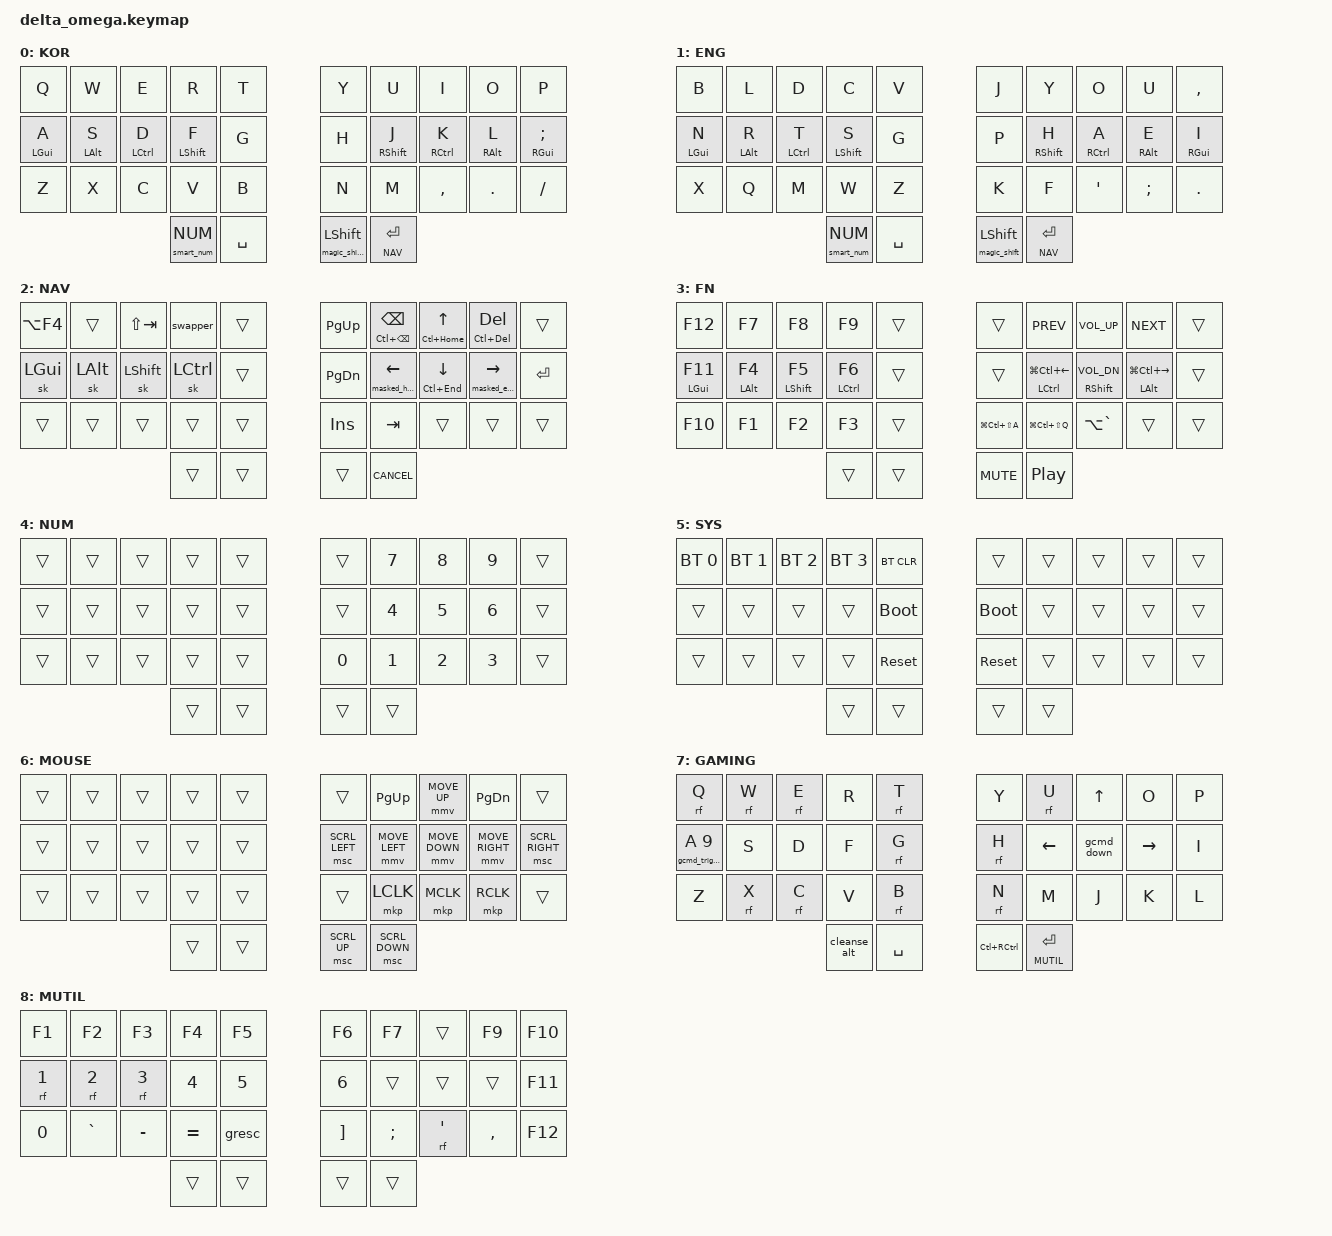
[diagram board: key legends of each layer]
#include <behaviors.dtsi>
#include <behaviors/num_word.dtsi>
#include <dt-bindings/zmk/keys.h>
#include <dt-bindings/zmk/modifiers.h>
#include <dt-bindings/zmk/pointing.h>
#include <dt-bindings/zmk/outputs.h>
#include <dt-bindings/zmk/bt.h>
#include <input/processors.dtsi>
#include <zephyr/dt-bindings/input/input-event-codes.h>

#define KOR    0
#define ENG    1
#define NAV    2
#define FN     3
#define NUM    4
#define SYS    5
#define MOUSE  6
#define GAMING 7
#define MUTIL  8

/*
 * Ported from urob/zmk-config (github.com/urob/zmk-config), adapted to the
 * Delta Omega's 34-key 3x5+2 layout. KOR/ENG (base typing layers + HRM) are
 * unchanged from before. NAV/FN/NUM/SYS/MOUSE and the combo set below
 * replace the old NAV_MOUSE/NUM_FUN/SYM layers. MAPLE/MUTIL removed for
 * this pass.
 *
 * Physical position numbers (unchanged project convention):
 *   row0: 0-4 (left) 5-9 (right)
 *   row1: 10-14 (left) 15-19 (right)
 *   row2: 20-24 (left) 25-29 (right)
 *   thumbs: 30(SMART_NUM) 31(SPACE) 32(MAGIC_SHIFT) 33(ENTER)
 *
 * Final personalized thumb set - urob's features are ported for their
 * behavior, not to force his thumb arrangement:
 *   - Smart Num (urob): tap = num-word, hold = NUM, double-tap = sticky NUM.
 *   - Space: plain &kp SPACE. Position 31's switch was suspected of
 *     chattering and both a software debounce cooldown and a chatter-
 *     guard behavior were tried here - real-hardware testing traced its
 *     actual misbehavior to intermittent presses never reaching the
 *     matrix scan at all (a physical contact issue), which neither can
 *     compensate for, so it's back to plain.
 *   - Magic Shift (urob): hold = Shift, tap = sticky-Shift (or repeat the
 *     last letter if one was just typed), Shift+tap = Caps Word.
 *   - Enter: tap = Enter, hold = NAV.
 * Esc and Backspace are off the thumbs entirely - combo_esc_kor/
 * combo_esc_eng/combo_esc and combo_bspc below are their only access, with
 * the KOR<->ENG switch (bsw) as the hold action on the KOR/ENG Esc combos.
 * The Leader key was tried and dropped (combo_qexcl took its home-row
 * combo spot instead) - losing it also means &out OUT_USB/OUT_BLE has no
 * binding anywhere right now.
 */

&sk {
    release-after-ms = <900>;
    quick-release;
};

&sl {
    ignore-modifiers;
};

&lt {
    flavor = "balanced";
    tapping-term-ms = <200>;
    quick-tap-ms = <175>;
};

&mmv {
    acceleration-exponent = <1>;
    time-to-max-speed-ms = <500>;
    delay-ms = <0>;
};

&msc {
    acceleration-exponent = <0>;
    time-to-max-speed-ms = <300>;
    delay-ms = <0>;
};

/*
 * The delta-omega shield module's board overlay only applies under the old
 * board id (boards/seeeduino_xiao_ble.overlay). Under the newer Zephyr
 * hwmv2 board id (xiao_ble) that file is never included, which left the
 * XIAO's I2C/UART pins enabled by default - conflicting with the kscan
 * matrix pins and breaking every key. Replicated here so it applies
 * regardless of board-id naming.
 */
&xiao_i2c {
    status = "disabled";
};
&xiao_serial {
    status = "disabled";
};

/*
 * The shield chooses both zmk,matrix_transform and zmk,physical-layout,
 * which the newer physical_layouts.c only partially supports (it falls
 * back to matrix_transform with a #warning, but that fallback path may not
 * be wiring events through correctly). Drop the physical-layout chosen so
 * only the plain matrix-transform path is used.
 */
/ {
    chosen {
        /delete-property/ zmk,physical-layout;
    };
};

/ {
    aliases {
        led-red = &led0;
        led-green = &led1;
        led-blue = &led2;
    };

    leds {
        compatible = "gpio-leds";
        status = "okay";
        led0: led_0 {
            gpios = <&gpio1 15 GPIO_ACTIVE_HIGH>;
        };
        led1: led_1 {
            gpios = <&gpio1 14 GPIO_ACTIVE_HIGH>;
        };
        led2: led_2 {
            gpios = <&gpio0 10 GPIO_ACTIVE_HIGH>;
        };
    };
};

/ {
    dbtap: debounce_tap {
        compatible = "zmk,behavior-debounce-tap";
        #binding-cells = <1>;
    };

    space_ht: space_holdtap {
        compatible = "zmk,behavior-space-holdtap";
        #binding-cells = <2>;
    };

    rf: rapid_fire {
        compatible = "zmk,behavior-rapid-fire";
        #binding-cells = <1>;
    };

    /* Gaming layer 7: alternates LALT/F8 on the Cleanse thumb key. */
    cleanse_alt: cleanse_alt {
        compatible = "zmk,behavior-cleanse-alt";
        #binding-cells = <0>;
    };

    /* Gaming layer 7/8 command state machine - see behavior_gaming_cmd.c. */
    gcmd_down: gaming_cmd_down {
        compatible = "zmk,behavior-gaming-cmd-down";
        #binding-cells = <0>;
    };
    gcmd_trigger: gaming_cmd_trigger {
        compatible = "zmk,behavior-gaming-cmd-trigger";
        #binding-cells = <2>;
    };

    zip_scroll_scaler: zip_scroll_scaler {
        compatible = "zmk,input-processor-scaler";
        #input-processor-cells = <2>;
        type = <INPUT_EV_REL>;
        codes = <INPUT_REL_WHEEL INPUT_REL_HWHEEL>;
        track-remainders;
    };

    behaviors {
        hml: home_row_mod_left {
            compatible = "zmk,behavior-hold-tap";
            #binding-cells = <2>;
            flavor = "balanced";
            tapping-term-ms = <250>;
            quick-tap-ms = <175>;
            require-prior-idle-ms = <150>;
            bindings = <&kp>, <&kp>;
            hold-trigger-key-positions = <
                5 6 7 8 9
                15 16 17 18 19
                25 26 27 28 29
                30 31 32 33
            >;
            hold-trigger-on-release;
        };

        hmr: home_row_mod_right {
            compatible = "zmk,behavior-hold-tap";
            #binding-cells = <2>;
            flavor = "balanced";
            tapping-term-ms = <250>;
            quick-tap-ms = <175>;
            require-prior-idle-ms = <150>;
            bindings = <&kp>, <&kp>;
            hold-trigger-key-positions = <
                0 1 2 3 4
                10 11 12 13 14
                20 21 22 23 24
                30 31 32 33
            >;
            hold-trigger-on-release;
        };

        /*
         * Tap Esc, hold to switch KOR <-> ENG. Lives only on
         * combo_esc_kor/combo_esc_eng below - no thumb key for it.
         */
        bsw: base_switch {
            compatible = "zmk,behavior-hold-tap";
            #binding-cells = <2>;
            flavor = "tap-preferred";
            tapping-term-ms = <250>;
            bindings = <&to>, <&kp>;
        };

        /* Mask CTRL on long-tap Left/Right nav to avoid jumping to doc start/end. */
        masked_home: masked_home {
            compatible = "zmk,behavior-mod-morph";
            #binding-cells = <0>;
            bindings = <&kp HOME>, <&kp HOME>;
            mods = <(MOD_LCTL)>;
        };
        masked_end: masked_end {
            compatible = "zmk,behavior-mod-morph";
            #binding-cells = <0>;
            bindings = <&kp END>, <&kp END>;
            mods = <(MOD_LCTL)>;
        };

        /* Trigger tap-action on all interrupts; used for Nav's long-tap keys. */
        mt_home: mt_home {
            compatible = "zmk,behavior-hold-tap";
            #binding-cells = <2>;
            flavor = "tap-preferred";
            tapping-term-ms = <220>;
            quick-tap-ms = <220>;
            bindings = <&masked_home>, <&kp>;
        };
        mt_end: mt_end {
            compatible = "zmk,behavior-hold-tap";
            #binding-cells = <2>;
            flavor = "tap-preferred";
            tapping-term-ms = <220>;
            quick-tap-ms = <220>;
            bindings = <&masked_end>, <&kp>;
        };
        mt_ctrl: mt_ctrl {
            compatible = "zmk,behavior-hold-tap";
            #binding-cells = <2>;
            flavor = "tap-preferred";
            tapping-term-ms = <220>;
            quick-tap-ms = <220>;
            bindings = <&kp>, <&kp>;
        };

        /*
         * Gaming layer 7: right-hand Interaction thumb key.
         * LCTRL+RCTRL together (NPC/boss interact), held for exactly as
         * long as the physical key is down - matching LunaKey Pico's
         * pcbang_gaming port, which dropped this key's old hold=Esc
         * tap-dance this same session in favor of a plain hold. No
         * custom behavior needed: LC(RCTRL) already gives ZMK's native
         * hold-for-physical-duration semantics directly (same as any
         * other &kp), so the old ctrl_both macro + gaming_ctrl_esc
         * hold-tap (which existed only to support the now-removed Esc
         * branch) are gone too.
         */

        /* Alt+Tab swapper - hold Alt, tap Tab repeatedly, release to commit. */
        swapper: swapper {
            compatible = "zmk,behavior-tri-state";
            #binding-cells = <0>;
            bindings = <&kt LALT>, <&kp TAB>, <&kt LALT>;
            ignored-key-positions = <2 7 16 17 18>;
        };

        /* Toggle the Mouse layer; typing other keys while it's on cancels it. */
        smart_mouse: smart_mouse {
            compatible = "zmk,behavior-tri-state";
            #binding-cells = <0>;
            bindings = <&tog MOUSE>, <&none>, <&tog MOUSE>;
            ignored-key-positions = <2 3 6 7 8 15 16 17 18 19 26 27 28 30 31 32 33>;
            ignored-layers = <MOUSE NAV FN>;
        };

        /*
         * Toggle the FN layer; typing other keys while it's on cancels it.
         * Cloned from smart_mouse above - same tri-state/auto-exit pattern,
         * entered via combo_fn (physical R+T) instead of a thumb hold-tap.
         * ignored-key-positions = FN's own real (non-trans) bindings, plus
         * combo_fn's own trigger positions (3 4), plus 30 (SMART_NUM) so
         * holding it to reach the FN+NUM -> SYS conditional layer doesn't
         * cancel FN first.
         */
        smart_fn: smart_fn {
            compatible = "zmk,behavior-tri-state";
            #binding-cells = <0>;
            bindings = <&tog FN>, <&none>, <&tog FN>;
            ignored-key-positions = <0 1 2 3 4 6 7 8 10 11 12 13 16 17 18 20 21 22 23 25 26 27 30 32 33>;
            ignored-layers = <FN NAV MOUSE>;
        };

        /* Tap: comma | Shift+tap: semicolon | Ctrl+Shift+tap: less-than. */
        comma_inner_morph: comma_inner_morph {
            compatible = "zmk,behavior-mod-morph";
            #binding-cells = <0>;
            bindings = <&kp SEMI>, <&kp LT>;
            mods = <(MOD_LCTL|MOD_RCTL)>;
        };
        comma_morph: comma_morph {
            compatible = "zmk,behavior-mod-morph";
            #binding-cells = <0>;
            bindings = <&kp COMMA>, <&comma_inner_morph>;
            mods = <(MOD_LSFT|MOD_RSFT)>;
        };

        /* Tap: dot | Shift+tap: colon | Ctrl+Shift+tap: greater-than. */
        dot_inner_morph: dot_inner_morph {
            compatible = "zmk,behavior-mod-morph";
            #binding-cells = <0>;
            bindings = <&kp COLON>, <&kp GT>;
            mods = <(MOD_LCTL|MOD_RCTL)>;
        };
        dot_morph: dot_morph {
            compatible = "zmk,behavior-mod-morph";
            #binding-cells = <0>;
            bindings = <&kp DOT>, <&dot_inner_morph>;
            mods = <(MOD_LSFT|MOD_RSFT)>;
        };

        /* Tap: question mark | Shift+tap: exclamation mark. */
        qexcl: qexcl {
            compatible = "zmk,behavior-mod-morph";
            #binding-cells = <0>;
            bindings = <&kp QMARK>, <&kp EXCL>;
            mods = <(MOD_LSFT|MOD_RSFT)>;
        };

        /* Tap: ( / ) | Shift+tap: < / >. */
        lpar_lt: lpar_lt {
            compatible = "zmk,behavior-mod-morph";
            #binding-cells = <0>;
            bindings = <&kp LPAR>, <&kp LT>;
            mods = <(MOD_LSFT|MOD_RSFT)>;
        };
        rpar_gt: rpar_gt {
            compatible = "zmk,behavior-mod-morph";
            #binding-cells = <0>;
            bindings = <&kp RPAR>, <&kp GT>;
            mods = <(MOD_LSFT|MOD_RSFT)>;
        };

        /* Tap: backspace | Lshift+tap: delete | Rshift+tap: shift-delete. */
        bs_del: bs_del {
            compatible = "zmk,behavior-mod-morph";
            #binding-cells = <0>;
            bindings = <&kp BSPC>, <&kp DEL>;
            mods = <(MOD_LSFT|MOD_RSFT)>;
            keep-mods = <(MOD_RSFT)>;
        };

        /* Tap: copy | double-tap: cut. */
        copy_cut: copy_cut {
            compatible = "zmk,behavior-tap-dance";
            #binding-cells = <0>;
            tapping-term-ms = <200>;
            bindings = <&kp LC(INS)>, <&kp LC(X)>;
        };

        /*
         * Tap: num-word (auto-off after one key, delegates to num_word
         * below) | Double-tap: sticky NUM layer, toggles off on a second
         * double-tap | Hold (or interrupted by another key while
         * pressed): momentary NUM layer. Single custom state machine -
         * see behavior_smart_num.c for the OFF/PENDING/MOMENTARY/STICKY
         * transitions (replaces the previous hold-tap+tap-dance
         * nesting, which had two independently-timed windows that could
         * drift apart on rapid double-taps).
         */
        smart_num: smart_num {
            compatible = "zmk,behavior-smart-num";
            #binding-cells = <1>;
            tapping-term-ms = <200>;
            bindings = <&num_word>;
        };

        /*
         * Magic Shift: hold = Shift. Tap = sticky-Shift, unless the prior
         * key was a letter within 1200ms, in which case tap repeats that
         * letter's last output instead (shift_repeat) - Caps Word on
         * Shift+tap. Single custom state machine (see
         * behavior_magic_shift.c), not a hold-tap - a hold-tap here would
         * capture the interrupting key's raw event and replay it once
         * decided, which is the exact trigger pattern behind zmkfirmware/
         * zmk#2001 and #986 (mod-tap modifiers getting stuck at the host,
         * still open upstream, confirmed on both "balanced" and
         * "hold-preferred"). This behavior never captures anything - it
         * registers Shift immediately on interrupt and lets that key's
         * own event bubble through untouched.
         */
        magic_shift: magic_shift {
            compatible = "zmk,behavior-magic-shift";
            #binding-cells = <1>;
            tapping-term-ms = <280>;
            bindings = <&kp>, <&magic_shift_tap>;
        };
        magic_shift_tap: magic_shift_tap {
            compatible = "zmk,behavior-mod-morph";
            #binding-cells = <0>;
            bindings = <&shift_repeat>, <&caps_word>;
            mods = <(MOD_LSFT)>;
        };
        shift_repeat: shift_repeat {
            compatible = "zmk,behavior-adaptive-key";
            #binding-cells = <0>;
            bindings = <&sk LSHFT>;

            repeat {
                trigger-keys = <A B C D E F G H I J K L M N O P Q R S T U V W X Y Z>;
                bindings = <&key_repeat>;
                max-prior-idle-ms = <1200>;
                strict-modifiers;
            };
        };

        /*
         * KOR-layer-only variant: Korean input sends the same A-Z HID
         * keycodes as English, so shift_repeat's "repeat the last letter"
         * trigger fires almost constantly while typing Hangul, meaning
         * sticky-shift basically never armed. This variant skips
         * shift_repeat entirely - tap is always plain sticky-shift.
         * ENG (Gallium) keeps the original magic_shift with shift_repeat,
         * since there it's genuine English typing.
         */
        magic_shift_kor: magic_shift_kor {
            compatible = "zmk,behavior-magic-shift";
            #binding-cells = <1>;
            tapping-term-ms = <280>;
            bindings = <&kp>, <&magic_shift_kor_tap>;
        };
        magic_shift_kor_tap: magic_shift_kor_tap {
            compatible = "zmk,behavior-mod-morph";
            #binding-cells = <0>;
            bindings = <&sk LSHFT>, <&caps_word>;
            mods = <(MOD_LSFT)>;
        };
    };

    combos {
        compatible = "zmk,combos";

        /* Existing K/L physical-position combo for Korean/English IME toggle. */
        combo_hangeul {
            timeout-ms = <110>;
            key-positions = <17 18>;
            layers = <KOR ENG>;
            bindings = <&kp RALT>;
        };

        /*
         * Left top row: Esc / toggle Mouse layer. On KOR/ENG the Esc combo
         * doubles as the KOR<->ENG switch on hold (bsw), same as when it
         * lived on the Esc thumb.
         */
        combo_esc_kor {
            timeout-ms = <18>;
            key-positions = <1 2>;
            layers = <KOR>;
            bindings = <&bsw ENG ESC>;
        };
        combo_esc_eng {
            timeout-ms = <18>;
            key-positions = <1 2>;
            layers = <ENG>;
            bindings = <&bsw KOR ESC>;
        };
        combo_esc {
            timeout-ms = <18>;
            key-positions = <1 2>;
            layers = <NAV NUM>;
            bindings = <&kp ESC>;
        };
        combo_mouse {
            timeout-ms = <18>;
            key-positions = <2 3>;
            layers = <KOR ENG NAV NUM>;
            bindings = <&smart_mouse>;
        };
        /* Physical R+T (C+V on ENG/Gallium): toggle FN, same as combo_mouse. */
        combo_fn {
            timeout-ms = <18>;
            key-positions = <3 4>;
            layers = <KOR ENG NAV NUM>;
            bindings = <&smart_fn>;
        };

        /* Left home row (D+F): exclamation mark. */
        combo_qexcl {
            timeout-ms = <18>;
            key-positions = <12 13>;
            layers = <KOR ENG NAV NUM>;
            bindings = <&kp EXCL>;
        };

        /* Left home row: Tab, chords Shift+Alt when held. */
        combo_tab {
            timeout-ms = <18>;
            key-positions = <11 12>;
            layers = <KOR ENG NAV NUM>;
            bindings = <&hml LS(LALT) TAB>;
        };

        /* Left bottom row: cut/copy/paste. */
        combo_cut {
            timeout-ms = <18>;
            key-positions = <21 23>;
            layers = <KOR ENG NAV NUM>;
            bindings = <&kp LC(X)>;
        };
        combo_copy {
            timeout-ms = <18>;
            key-positions = <21 22>;
            layers = <KOR ENG NAV NUM>;
            bindings = <&kp LC(INS)>;
        };
        combo_paste {
            timeout-ms = <18>;
            key-positions = <22 23>;
            layers = <KOR ENG NAV NUM>;
            bindings = <&kp LS(INS)>;
        };

        /* Right home row: backspace (moved here from 6,7 - was J+K's spot) / delete. */
        combo_bspc {
            timeout-ms = <18>;
            key-positions = <16 17>;
            layers = <KOR ENG NAV NUM>;
            bindings = <&kp BSPC>;
        };
        combo_del {
            timeout-ms = <18>;
            key-positions = <7 8>;
            layers = <KOR ENG NAV NUM>;
            bindings = <&kp DEL>;
        };

        /*
         * Right top row: parens (base/num) or angle brackets (nav) - moved
         * here (Y+U / U+I) to make room for combo_bspc above. This also
         * incidentally fixes a pre-existing conflict where combo_rpar and
         * combo_hangeul both sat on 17,18 with overlapping layers.
         */
        combo_lpar {
            timeout-ms = <18>;
            key-positions = <5 6>;
            layers = <KOR ENG NUM>;
            bindings = <&lpar_lt>;
        };
        combo_rpar {
            timeout-ms = <18>;
            key-positions = <6 7>;
            layers = <KOR ENG NUM>;
            bindings = <&rpar_gt>;
        };
        combo_lt {
            timeout-ms = <18>;
            key-positions = <5 6>;
            layers = <NAV>;
            bindings = <&kp LT>;
        };
        combo_gt {
            timeout-ms = <18>;
            key-positions = <6 7>;
            layers = <NAV>;
            bindings = <&kp GT>;
        };

        /* Right bottom row: square/curly brackets. */
        combo_lbkt {
            timeout-ms = <18>;
            key-positions = <26 27>;
            layers = <KOR ENG NUM>;
            bindings = <&kp LBKT>;
        };
        combo_rbkt {
            timeout-ms = <18>;
            key-positions = <27 28>;
            layers = <KOR ENG NUM>;
            bindings = <&kp RBKT>;
        };
        combo_lbrc {
            timeout-ms = <18>;
            key-positions = <26 27>;
            layers = <NAV>;
            bindings = <&kp LBRC>;
        };
        combo_rbrc {
            timeout-ms = <18>;
            key-positions = <27 28>;
            layers = <NAV>;
            bindings = <&kp RBRC>;
        };

        /* Left vertical combos (top+home per column): @ # $ %. */
        combo_at {
            timeout-ms = <30>;
            key-positions = <1 11>;
            layers = <KOR ENG NAV NUM>;
            bindings = <&kp AT>;
        };
        combo_hash {
            timeout-ms = <30>;
            key-positions = <2 12>;
            layers = <KOR ENG NAV NUM>;
            bindings = <&kp HASH>;
        };
        combo_dllr {
            timeout-ms = <30>;
            key-positions = <3 13>;
            layers = <KOR ENG NAV NUM>;
            bindings = <&kp DOLLAR>;
        };
        combo_prcnt {
            timeout-ms = <30>;
            key-positions = <4 14>;
            layers = <KOR ENG NAV NUM>;
            bindings = <&kp PERCENT>;
        };

        /* Left vertical combos (home+bottom per column): ` \ = ~. */
        combo_grave {
            timeout-ms = <30>;
            key-positions = <11 21>;
            layers = <KOR ENG NAV NUM>;
            bindings = <&kp GRAVE>;
        };
        combo_bslh {
            timeout-ms = <30>;
            key-positions = <12 22>;
            layers = <KOR ENG NAV NUM>;
            bindings = <&kp BSLH>;
        };
        combo_equal {
            timeout-ms = <30>;
            key-positions = <13 23>;
            layers = <KOR ENG NAV NUM>;
            bindings = <&kp EQUAL>;
        };
        combo_tilde {
            timeout-ms = <30>;
            key-positions = <14 24>;
            layers = <KOR ENG NAV NUM>;
            bindings = <&kp TILDE>;
        };

        /* Right vertical combos (top+home per column): ^ + * &. */
        combo_caret {
            timeout-ms = <30>;
            key-positions = <5 15>;
            layers = <KOR ENG NAV NUM>;
            bindings = <&kp CARET>;
        };
        /*
         * NUM excluded (was KOR ENG NAV NUM): these vertical symbol combos
         * share a first-key position with a SmartNum NUM digit
         * (6/7/8/16/17/18/25/26/27/28). ZMK's combo module holds the
         * physical key until every still-viable candidate on that position
         * times out, so as long as NUM stayed a valid layer here every
         * digit paid this combo's full 30ms even with no partner key
         * pressed (measured on hardware). Symbol combos still work
         * unchanged on KOR/ENG/NAV.
         */
        combo_plus {
            timeout-ms = <30>;
            key-positions = <6 16>;
            layers = <KOR ENG NAV>;
            bindings = <&kp PLUS>;
        };
        combo_star {
            timeout-ms = <30>;
            key-positions = <7 17>;
            layers = <KOR ENG NAV>;
            bindings = <&kp ASTRK>;
        };
        combo_amps {
            timeout-ms = <30>;
            key-positions = <8 18>;
            layers = <KOR ENG NAV>;
            bindings = <&kp AMPS>;
        };

        /* Right vertical combos (home+bottom per column): _ - / |.
         * NUM excluded from all four - see comment above combo_plus. */
        combo_under {
            timeout-ms = <30>;
            key-positions = <15 25>;
            layers = <KOR ENG NAV>;
            bindings = <&kp UNDER>;
        };
        combo_minus {
            timeout-ms = <30>;
            key-positions = <16 26>;
            layers = <KOR ENG NAV>;
            bindings = <&kp MINUS>;
        };
        combo_fslh {
            timeout-ms = <30>;
            key-positions = <17 27>;
            layers = <KOR ENG NAV>;
            bindings = <&kp FSLH>;
        };
        combo_pipe {
            timeout-ms = <30>;
            key-positions = <18 28>;
            layers = <KOR ENG NAV>;
            bindings = <&kp PIPE>;
        };

        /*
         * Z + / together: toggle the Gaming layer on/off. Also active on
         * Gaming itself so the same chord exits it. Both outer thumbs
         * (30/33) were too unreliable to land even at 100ms - moved to
         * the two bottom-row corner keys instead, still far apart enough
         * to not fire by accident while typing.
         */
        combo_gaming {
            timeout-ms = <100>;
            key-positions = <20 29>;
            layers = <KOR ENG GAMING>;
            bindings = <&tog GAMING>;
        };
    };

    conditional_layers {
        compatible = "zmk,conditional-layers";

        sys_layer {
            if-layers = <FN NUM>;
            then-layer = <SYS>;
        };
    };

    keymap {
        compatible = "zmk,keymap";

        /* Korean QWERTY + HRM */
        KOR {
            bindings = <
&kp Q          &kp W          &kp E           &kp R            &kp T           &kp Y           &kp U           &kp I           &kp O           &kp P
&hml LGUI A     &hml LALT S    &hml LCTRL D    &hml LSHIFT F    &kp G           &kp H           &hmr RSHIFT J   &hmr RCTRL K    &hmr RALT L     &hmr RGUI SEMI
&kp Z          &kp X          &kp C           &kp V            &kp B           &kp N           &kp M           &kp COMMA       &kp DOT         &kp SLASH
                                                    &smart_num NUM   &kp SPACE   &magic_shift_kor LSHFT   &lt NAV ENTER
            >;
        };

        /* Gallium Colstag + HRM */
        ENG {
            bindings = <
&kp B          &kp L          &kp D           &kp C            &kp V           &kp J           &kp Y           &kp O           &kp U           &kp COMMA
&hml LGUI N     &hml LALT R    &hml LCTRL T    &hml LSHIFT S    &kp G           &kp P           &hmr RSHIFT H   &hmr RCTRL A    &hmr RALT E     &hmr RGUI I
&kp X          &kp Q          &kp M           &kp W            &kp Z           &kp K           &kp F           &kp APOS        &kp SEMI        &kp DOT
                                                    &smart_num NUM   &kp SPACE   &magic_shift LSHFT   &lt NAV ENTER
            >;
        };

        /*
         * Nav cluster. Right home row = arrows (long-tap: line/doc start-end).
         * Right top = PgUp/Bspc-word/Up/Del-word. Left = sticky mods.
         */
        NAV {
            bindings = <
&kp LA(F4)     &trans         &kp LS(TAB)     &swapper         &trans          &kp PG_UP       &mt_ctrl LC(BSPC) BSPC   &mt_ctrl LC(HOME) UP   &mt_ctrl LC(DEL) DEL   &trans
&sk LGUI       &sk LALT       &sk LSHFT       &sk LCTRL        &trans          &kp PG_DN       &mt_home 0 LEFT          &mt_ctrl LC(END) DOWN   &mt_end 0 RIGHT   &kp RET
&trans         &trans         &trans          &trans           &trans          &kp INS         &kp TAB         &trans          &trans          &trans
                                                    &trans         &trans          &trans          &kp K_CANCEL
            >;
        };

        /*
         * Fn: F-keys + media/desktop. Left column mirrors F-keys with HRM.
         */
        FN {
            bindings = <
&kp F12        &kp F7         &kp F8          &kp F9           &trans          &trans          &kp C_PREV      &kp C_VOL_UP    &kp C_NEXT      &trans
&hml LGUI F11   &hml LALT F4   &hml LSHFT F5   &hml LCTRL F6    &trans          &trans          &hmr LCTRL LG(LC(LEFT))   &hmr RSHFT C_VOL_DN   &hmr LALT LG(LC(RIGHT))   &trans
&kp F10        &kp F1         &kp F2          &kp F3           &trans          &kp LG(LC(LS(A)))   &kp LG(LC(LS(Q)))   &kp LA(GRAVE)   &trans          &trans
                                                    &trans         &trans          &kp C_MUTE      &kp C_PP
            >;
        };

        /*
         * Num: matches LunaKey Pico's pcbang_gaming NUM layer exactly -
         * no digit anywhere on the left hand (fully &trans, HRM included),
         * no calculator symbols. Right hand: U=7 I=8 O=9 / J=4 K=5 L=6 /
         * N=0 M=1 ,=2 .=3, every other cell &trans (Y/P/H/;// included).
         */
        NUM {
            bindings = <
&trans         &trans         &trans          &trans           &trans          &trans          &kp N7          &kp N8          &kp N9          &trans
&trans         &trans         &trans          &trans           &trans          &trans          &kp N4          &kp N5          &kp N6          &trans
&trans         &trans         &trans          &trans           &trans          &kp N0          &kp N1          &kp N2          &kp N3          &trans
                                                    &trans         &trans          &trans          &trans
            >;
        };

        /* Sys: BT select/clear left top row, bootloader/reset on outer thumbs-side. */
        SYS {
            bindings = <
&bt BT_SEL 0   &bt BT_SEL 1   &bt BT_SEL 2    &bt BT_SEL 3     &bt BT_CLR      &trans          &trans          &trans          &trans          &trans
&trans         &trans         &trans          &trans           &bootloader     &bootloader     &trans          &trans          &trans          &trans
&trans         &trans         &trans          &trans           &sys_reset      &sys_reset      &trans          &trans          &trans          &trans
                                                    &trans         &trans          &trans          &trans
            >;
        };

        /*
         * Mouse: movement/wheel/buttons on the right hand (matches the
         * physical thumb that reaches Nav/Space, and mirrors urob's layout).
         */
        MOUSE {
            bindings = <
&trans         &trans         &trans          &trans           &trans          &trans          &kp PG_UP       &mmv MOVE_UP    &kp PG_DN       &trans
&trans         &trans         &trans          &trans           &trans          &msc SCRL_LEFT  &mmv MOVE_LEFT  &mmv MOVE_DOWN  &mmv MOVE_RIGHT &msc SCRL_RIGHT
&trans         &trans         &trans          &trans           &trans          &trans          &mkp LCLK       &mkp MCLK       &mkp RCLK       &trans
                                                    &trans         &trans          &msc SCRL_UP    &msc SCRL_DOWN
            >;
        };

        /*
         * Gaming: fully custom, every cell explicit (no &trans into
         * KOR/ENG) so HRM and combos can never fire here - only combo_gaming
         * itself (which lists GAMING in its own layers) is active.
         * IJKL physical positions carry arrows (I=up, J=left, K=down,
         * L=right); the alpha letters I/J/K/L that displaced move to
         * ;/,/./  so they're still reachable. rf = rapid-fire (randomized
         * hold-to-spam): Q W E U G H X C N T B.
         *
         * A (pos10) and Down (pos17) also drive the Down-Down-A/Down
         * command state machine (gcmd_trigger/gcmd_down, see
         * behavior_gaming_cmd.c) - both still output their normal key on
         * every ordinary press, only substituting when the other side has
         * just armed a pending command.
         *
         * Left outer thumb (was Esc/Ctrl) = Cleanse alternator
         * (LALT/F8 in turn). Right inner thumb (was Bspc/Alt) = Ctrl+Ctrl,
         * held for as long as physically pressed - no hold action.
         */
        GAMING {
            bindings = <
&rf Q          &rf W          &rf E           &kp R            &rf T           &kp Y           &rf U           &kp UP          &kp O           &kp P
&gcmd_trigger A N9   &kp S    &kp D           &kp F            &rf G           &rf H           &kp LEFT        &gcmd_down      &kp RIGHT       &kp I
&kp Z          &rf X          &rf C           &kp V            &rf B           &rf N           &kp M           &kp J           &kp K           &kp L
                                                    &cleanse_alt   &kp SPACE   &kp LC(RCTRL)            &lt MUTIL RET
            >;
        };

        /*
         * Gaming util (momentary, hold Gaming's Enter thumb): F-keys/digits
         * for skill bars. Positions 7/16/17/18 stay &trans (falling through
         * to Gaming's arrows) instead of F8/7/8/9 - covering them blocked
         * arrow-key input while this sublayer was held, in the old design.
         *
         * Right-edge column (pos 9/19/29) is F10/F11/F12: the old F11
         * (pos20) and 0 (pos19) swap places, and old / (pos29) becomes
         * F12. Pos21 (X) is a deliberate exception, kept as GRAVE - not
         * matched to LunaKey Pico's F12 there.
         * Pos24 (B): matches LunaKey Pico's live Remap state (not its
         * older KC_LBRC source) - &gresc, ZMK's built-in Grave/Escape
         * mod-morph: tap = Esc, Shift or GUI held + tap = ` (grave).
         */
        MUTIL {
            bindings = <
&kp F1         &kp F2         &kp F3          &kp F4           &kp F5          &kp F6          &kp F7          &trans          &kp F9          &kp F10
&rf N1         &rf N2         &rf N3          &kp N4           &kp N5          &kp N6          &trans          &trans          &trans          &kp F11
&kp N0         &kp GRAVE      &kp MINUS       &kp EQUAL        &gresc          &kp RBKT        &kp SEMI        &rf APOS        &kp COMMA       &kp F12
                                                    &trans         &trans          &trans          &trans
            >;
        };
    };
};
